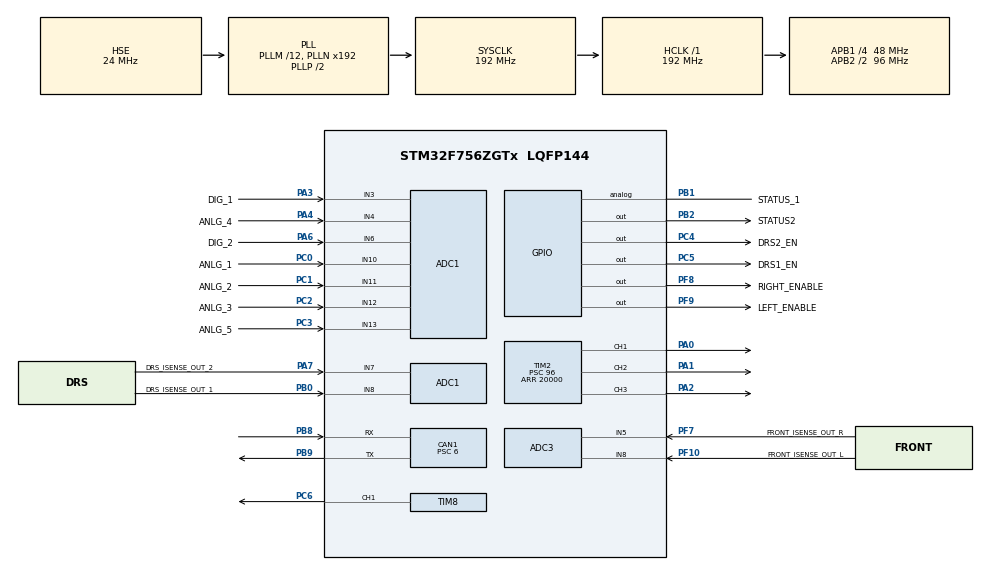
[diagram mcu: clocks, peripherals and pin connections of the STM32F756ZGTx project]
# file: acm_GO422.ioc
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ADC1.Channel-1\#ChannelRegularConversion=ADC_CHANNEL_6
ADC1.NbrOfConversionFlag=1
ADC1.Rank-1\#ChannelRegularConversion=1
ADC1.SamplingTime-1\#ChannelRegularConversion=ADC_SAMPLETIME_3CYCLES
ADC1.master=1
ADC3.Channel-0\#ChannelRegularConversion=ADC_CHANNEL_5
ADC3.NbrOfConversionFlag=1
ADC3.Rank-0\#ChannelRegularConversion=1
ADC3.SamplingTime-0\#ChannelRegularConversion=ADC_SAMPLETIME_3CYCLES
CAN1.ABOM=ENABLE
CAN1.AWUM=ENABLE
CAN1.BS1=CAN_BS1_6TQ
CAN1.CalculateBaudRate=1000000
CAN1.CalculateTimeBit=1000
CAN1.CalculateTimeQuantum=125.0
CAN1.Mode=CAN_MODE_NORMAL
CAN1.Prescaler=6
FREERTOS.Tasks01=taskMain_Loop,0,256,task_main_loop,Default,NULL,Dynamic,NULL,NULL;taskGCAN_Hardwa,0,256,task_gcan_hw,Default,NULL,Dynamic,NULL,NULL
FREERTOS.configMINIMAL_STACK_SIZE=256
Mcu.Family=STM32F7
Mcu.Name=STM32F756ZGTx
Mcu.Package=LQFP144
NVIC.CAN1_RX0_IRQn=true\:5\:0\:false\:false\:true\:true\:true\:true\:true
NVIC.CAN1_RX1_IRQn=true\:5\:0\:false\:false\:true\:true\:true\:true\:true
NVIC.CAN1_TX_IRQn=true\:5\:0\:false\:false\:true\:true\:true\:true\:true
NVIC.PriorityGroup=NVIC_PRIORITYGROUP_4
NVIC.TIM6_DAC_IRQn=true\:0\:0\:false\:false\:true\:false\:false\:true\:true
NVIC.TimeBase=TIM6_DAC_IRQn
NVIC.TimeBaseIP=TIM6
PA0/WKUP.Signal=S_TIM2_CH1_ETR
PA1.Signal=S_TIM2_CH2
PA2.Signal=S_TIM2_CH3
PA3.GPIO_Label=DIG_1
PA3.Signal=ADCx_IN3
PA4.GPIO_Label=ANLG_4
PA4.Signal=ADCx_IN4
PA6.GPIO_Label=DIG_2
PA6.Signal=ADCx_IN6
PA7.GPIO_Label=DRS_ISENSE_OUT_2
PA7.Signal=ADCx_IN7
PB0.GPIO_Label=DRS_ISENSE_OUT_1
PB0.Signal=SharedAnalog_PB0
PB1.GPIO_Label=STATUS_1
PB1.Signal=GPIO_Analog
PB2.GPIO_Label=STATUS2
PB2.Signal=GPIO_Output
PB3.Signal=SYS_JTDO-SWO
PB8.Mode=CAN_Activate
PB8.Signal=CAN1_RX
PB9.Mode=CAN_Activate
PB9.Signal=CAN1_TX
PC0.GPIO_Label=ANLG_1
PC0.Signal=ADCx_IN10
PC1.GPIO_Label=ANLG_2
PC1.Signal=ADCx_IN11
PC2.GPIO_Label=ANLG_3
PC2.Signal=ADCx_IN12
PC3.GPIO_Label=ANLG_5
PC3.Signal=ADCx_IN13
PC4.GPIO_Label=DRS2_EN
PC4.Signal=GPIO_Output
PC5.GPIO_Label=DRS1_EN
PC5.Signal=GPIO_Output
PC6.Signal=S_TIM8_CH1
PF10.GPIO_Label=FRONT_ISENSE_OUT_L
PF10.Mode=IN8
PF10.Signal=ADC3_IN8
PF7.GPIO_Label=FRONT_ISENSE_OUT_R
PF7.Mode=IN5
PF7.Signal=ADC3_IN5
PF8.GPIO_Label=RIGHT_ENABLE
PF8.Signal=GPIO_Output
PF9.GPIO_Label=LEFT_ENABLE
PF9.Signal=GPIO_Output
PH0/OSC_IN.Mode=HSE-External-Clock-Source
PH0/OSC_IN.Signal=RCC_OSC_IN
PH1/OSC_OUT.Mode=HSE-External-Clock-Source
PH1/OSC_OUT.Signal=RCC_OSC_OUT
ProjectManager.HeapSize=0x200
ProjectManager.StackSize=0x400
ProjectManager.TargetToolchain=STM32CubeIDE
RCC.AHBFreq_Value=192000000
RCC.APB1CLKDivider=RCC_HCLK_DIV4
RCC.APB1Freq_Value=48000000
RCC.APB1TimFreq_Value=96000000
RCC.APB2CLKDivider=RCC_HCLK_DIV2
RCC.APB2Freq_Value=96000000
RCC.APB2TimFreq_Value=192000000
RCC.CortexFreq_Value=192000000
RCC.HCLKFreq_Value=192000000
RCC.HSE_VALUE=24000000
RCC.HSI_VALUE=16000000
RCC.LSE_VALUE=32768
RCC.PLLM=12
RCC.PLLSourceVirtual=RCC_PLLSOURCE_HSE
RCC.SYSCLKFreq_VALUE=192000000
RCC.SYSCLKSource=RCC_SYSCLKSOURCE_PLLCLK
RCC.USBFreq_Value=192000000
RCC.VCOOutputFreq_Value=384000000
SH.ADCx_IN10.0=ADC1_IN10,IN10
SH.ADCx_IN11.0=ADC1_IN11,IN11
SH.ADCx_IN12.0=ADC1_IN12,IN12
SH.ADCx_IN13.0=ADC1_IN13,IN13
SH.ADCx_IN3.0=ADC1_IN3,IN3
SH.ADCx_IN4.0=ADC1_IN4,IN4
SH.ADCx_IN6.0=ADC1_IN6,IN6
SH.ADCx_IN7.0=ADC1_IN7,IN7
SH.S_TIM2_CH1_ETR.0=TIM2_CH1,PWM Generation1 CH1
SH.S_TIM2_CH2.0=TIM2_CH2,PWM Generation2 CH2
SH.S_TIM2_CH3.0=TIM2_CH3,PWM Generation3 CH3
SH.S_TIM8_CH1.0=TIM8_CH1,PWM Generation1 CH1
SH.SharedAnalog_PB0.0=GPIO_Analog
SH.SharedAnalog_PB0.1=ADC1_IN8,IN8
TIM2.AutoReloadPreload=TIM_AUTORELOAD_PRELOAD_DISABLE
TIM2.Channel-PWM\ Generation1\ CH1=TIM_CHANNEL_1
TIM2.Channel-PWM\ Generation2\ CH2=TIM_CHANNEL_2
TIM2.Channel-PWM\ Generation3\ CH3=TIM_CHANNEL_3
TIM2.Period=20000
TIM2.Prescaler=96
TIM8.Channel-PWM\ Generation1\ CH1=TIM_CHANNEL_1
VP_FREERTOS_VS_CMSIS_V1.Mode=CMSIS_V1
VP_SYS_VS_tim6.Mode=TIM6
VP_TIM2_VS_ClockSourceINT.Mode=Internal
VP_TIM8_VS_ClockSourceINT.Mode=Internal
board=custom

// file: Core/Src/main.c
/* USER CODE BEGIN Header */
/**
  ******************************************************************************
  * @file           : main.c
  * @brief          : Main program body
  ******************************************************************************
  * @attention
  *
  * <h2><center>&copy; Copyright (c) 2022 STMicroelectronics.
  * All rights reserved.</center></h2>
  *
  * This software component is licensed by ST under Ultimate Liberty license
  * SLA0044, the "License"; You may not use this file except in compliance with
  * the License. You may obtain a copy of the License at:
  *                             www.st.com/SLA0044
  *
  ******************************************************************************
  */
/* USER CODE END Header */
#include "main.h"
#include "cmsis_os.h"

/* USER CODE BEGIN Includes */
#include "acm_GO422.h"
/* USER CODE END Includes */

ADC_HandleTypeDef hadc1;
ADC_HandleTypeDef hadc3;

CAN_HandleTypeDef hcan1;

TIM_HandleTypeDef htim2;
TIM_HandleTypeDef htim8;

osThreadId taskMain_LoopHandle;
osThreadId taskGCAN_HardwaHandle;

void SystemClock_Config(void);
static void MX_GPIO_Init(void);
static void MX_CAN1_Init(void);
static void MX_TIM8_Init(void);
static void MX_ADC1_Init(void);
static void MX_ADC3_Init(void);
static void MX_TIM2_Init(void);
void task_main_loop(void const * argument);
void task_gcan_hw(void const * argument);

int main(void)
{

  /* MCU Configuration--------------------------------------------------------*/

  /* Reset of all peripherals, Initializes the Flash interface and the Systick. */
  HAL_Init();

  /* Configure the system clock */
  SystemClock_Config();

  /* Initialize all configured peripherals */
  MX_GPIO_Init();
  MX_CAN1_Init();
  MX_TIM8_Init();
  MX_ADC1_Init();
  MX_ADC3_Init();
  MX_TIM2_Init();

  /* Create the thread(s) */
  /* definition and creation of taskMain_Loop */
  osThreadDef(taskMain_Loop, task_main_loop, osPriorityNormal, 0, 256);
  taskMain_LoopHandle = osThreadCreate(osThread(taskMain_Loop), NULL);

  /* definition and creation of taskGCAN_Hardwa */
  osThreadDef(taskGCAN_Hardwa, task_gcan_hw, osPriorityNormal, 0, 256);
  taskGCAN_HardwaHandle = osThreadCreate(osThread(taskGCAN_Hardwa), NULL);

  /* Start scheduler */
  osKernelStart();

  /* We should never get here as control is now taken by the scheduler */
  /* Infinite loop */
  while (1)
  {

  }
}

void SystemClock_Config(void)
{
  RCC_OscInitTypeDef RCC_OscInitStruct = {0};
  RCC_ClkInitTypeDef RCC_ClkInitStruct = {0};

  /** Configure the main internal regulator output voltage
  */
  __HAL_RCC_PWR_CLK_ENABLE();
  __HAL_PWR_VOLTAGESCALING_CONFIG(PWR_REGULATOR_VOLTAGE_SCALE1);
  /** Initializes the RCC Oscillators according to the specified parameters
  * in the RCC_OscInitTypeDef structure.
  */
  RCC_OscInitStruct.OscillatorType = RCC_OSCILLATORTYPE_HSE;
  RCC_OscInitStruct.HSEState = RCC_HSE_BYPASS;
  RCC_OscInitStruct.PLL.PLLState = RCC_PLL_ON;
  RCC_OscInitStruct.PLL.PLLSource = RCC_PLLSOURCE_HSE;
  RCC_OscInitStruct.PLL.PLLM = 12;
  RCC_OscInitStruct.PLL.PLLN = 192;
  RCC_OscInitStruct.PLL.PLLP = RCC_PLLP_DIV2;
  RCC_OscInitStruct.PLL.PLLQ = 2;
  if (HAL_RCC_OscConfig(&RCC_OscInitStruct) != HAL_OK)
  {
    Error_Handler();
  }
  /** Activate the Over-Drive mode
  */
  if (HAL_PWREx_EnableOverDrive() != HAL_OK)
  {
    Error_Handler();
  }
  /** Initializes the CPU, AHB and APB buses clocks
  */
  RCC_ClkInitStruct.ClockType = RCC_CLOCKTYPE_HCLK|RCC_CLOCKTYPE_SYSCLK
                              |RCC_CLOCKTYPE_PCLK1|RCC_CLOCKTYPE_PCLK2;
  RCC_ClkInitStruct.SYSCLKSource = RCC_SYSCLKSOURCE_PLLCLK;
  RCC_ClkInitStruct.AHBCLKDivider = RCC_SYSCLK_DIV1;
  RCC_ClkInitStruct.APB1CLKDivider = RCC_HCLK_DIV4;
  RCC_ClkInitStruct.APB2CLKDivider = RCC_HCLK_DIV2;

  if (HAL_RCC_ClockConfig(&RCC_ClkInitStruct, FLASH_LATENCY_6) != HAL_OK)
  {
    Error_Handler();
  }
}

static void MX_ADC1_Init(void)
{

  ADC_ChannelConfTypeDef sConfig = {0};

  /** Configure the global features of the ADC (Clock, Resolution, Data Alignment and number of conversion)
  */
  hadc1.Instance = ADC1;
  hadc1.Init.ClockPrescaler = ADC_CLOCK_SYNC_PCLK_DIV4;
  hadc1.Init.Resolution = ADC_RESOLUTION_12B;
  hadc1.Init.ScanConvMode = ADC_SCAN_DISABLE;
  hadc1.Init.ContinuousConvMode = DISABLE;
  hadc1.Init.DiscontinuousConvMode = DISABLE;
  hadc1.Init.ExternalTrigConvEdge = ADC_EXTERNALTRIGCONVEDGE_NONE;
  hadc1.Init.ExternalTrigConv = ADC_SOFTWARE_START;
  hadc1.Init.DataAlign = ADC_DATAALIGN_RIGHT;
  hadc1.Init.NbrOfConversion = 1;
  hadc1.Init.DMAContinuousRequests = DISABLE;
  hadc1.Init.EOCSelection = ADC_EOC_SINGLE_CONV;
  if (HAL_ADC_Init(&hadc1) != HAL_OK)
  {
    Error_Handler();
  }
  /** Configure for the selected ADC regular channel its corresponding rank in the sequencer and its sample time.
  */
  sConfig.Channel = ADC_CHANNEL_6;
  sConfig.Rank = ADC_REGULAR_RANK_1;
  sConfig.SamplingTime = ADC_SAMPLETIME_3CYCLES;
  if (HAL_ADC_ConfigChannel(&hadc1, &sConfig) != HAL_OK)
  {
    Error_Handler();
  }

}

static void MX_ADC3_Init(void)
{

  ADC_ChannelConfTypeDef sConfig = {0};

  /** Configure the global features of the ADC (Clock, Resolution, Data Alignment and number of conversion)
  */
  hadc3.Instance = ADC3;
  hadc3.Init.ClockPrescaler = ADC_CLOCK_SYNC_PCLK_DIV4;
  hadc3.Init.Resolution = ADC_RESOLUTION_12B;
  hadc3.Init.ScanConvMode = ADC_SCAN_DISABLE;
  hadc3.Init.ContinuousConvMode = DISABLE;
  hadc3.Init.DiscontinuousConvMode = DISABLE;
  hadc3.Init.ExternalTrigConvEdge = ADC_EXTERNALTRIGCONVEDGE_NONE;
  hadc3.Init.ExternalTrigConv = ADC_SOFTWARE_START;
  hadc3.Init.DataAlign = ADC_DATAALIGN_RIGHT;
  hadc3.Init.NbrOfConversion = 1;
  hadc3.Init.DMAContinuousRequests = DISABLE;
  hadc3.Init.EOCSelection = ADC_EOC_SINGLE_CONV;
  if (HAL_ADC_Init(&hadc3) != HAL_OK)
  {
    Error_Handler();
  }
  /** Configure for the selected ADC regular channel its corresponding rank in the sequencer and its sample time.
  */
  sConfig.Channel = ADC_CHANNEL_5;
  sConfig.Rank = ADC_REGULAR_RANK_1;
  sConfig.SamplingTime = ADC_SAMPLETIME_3CYCLES;
  if (HAL_ADC_ConfigChannel(&hadc3, &sConfig) != HAL_OK)
  {
    Error_Handler();
  }

}

static void MX_CAN1_Init(void)
{

  hcan1.Instance = CAN1;
  hcan1.Init.Prescaler = 6;
  hcan1.Init.Mode = CAN_MODE_NORMAL;
  hcan1.Init.SyncJumpWidth = CAN_SJW_1TQ;
  hcan1.Init.TimeSeg1 = CAN_BS1_6TQ;
  hcan1.Init.TimeSeg2 = CAN_BS2_1TQ;
  hcan1.Init.TimeTriggeredMode = DISABLE;
  hcan1.Init.AutoBusOff = ENABLE;
  hcan1.Init.AutoWakeUp = ENABLE;
  hcan1.Init.AutoRetransmission = DISABLE;
  hcan1.Init.ReceiveFifoLocked = DISABLE;
  hcan1.Init.TransmitFifoPriority = DISABLE;
  if (HAL_CAN_Init(&hcan1) != HAL_OK)
  {
    Error_Handler();
  }

}

static void MX_TIM2_Init(void)
{

  TIM_ClockConfigTypeDef sClockSourceConfig = {0};
  TIM_MasterConfigTypeDef sMasterConfig = {0};
  TIM_OC_InitTypeDef sConfigOC = {0};

  htim2.Instance = TIM2;
  htim2.Init.Prescaler = 96;
  htim2.Init.CounterMode = TIM_COUNTERMODE_UP;
  htim2.Init.Period = 20000;
  htim2.Init.ClockDivision = TIM_CLOCKDIVISION_DIV1;
  htim2.Init.AutoReloadPreload = TIM_AUTORELOAD_PRELOAD_DISABLE;
  if (HAL_TIM_Base_Init(&htim2) != HAL_OK)
  {
    Error_Handler();
  }
  sClockSourceConfig.ClockSource = TIM_CLOCKSOURCE_INTERNAL;
  if (HAL_TIM_ConfigClockSource(&htim2, &sClockSourceConfig) != HAL_OK)
  {
    Error_Handler();
  }
  if (HAL_TIM_PWM_Init(&htim2) != HAL_OK)
  {
    Error_Handler();
  }
  sMasterConfig.MasterOutputTrigger = TIM_TRGO_RESET;
  sMasterConfig.MasterSlaveMode = TIM_MASTERSLAVEMODE_DISABLE;
  if (HAL_TIMEx_MasterConfigSynchronization(&htim2, &sMasterConfig) != HAL_OK)
  {
    Error_Handler();
  }
  sConfigOC.OCMode = TIM_OCMODE_PWM1;
  sConfigOC.Pulse = 0;
  sConfigOC.OCPolarity = TIM_OCPOLARITY_HIGH;
  sConfigOC.OCFastMode = TIM_OCFAST_DISABLE;
  if (HAL_TIM_PWM_ConfigChannel(&htim2, &sConfigOC, TIM_CHANNEL_1) != HAL_OK)
  {
    Error_Handler();
  }
  if (HAL_TIM_PWM_ConfigChannel(&htim2, &sConfigOC, TIM_CHANNEL_2) != HAL_OK)
  {
    Error_Handler();
  }
  if (HAL_TIM_PWM_ConfigChannel(&htim2, &sConfigOC, TIM_CHANNEL_3) != HAL_OK)
  {
    Error_Handler();
  }
  HAL_TIM_MspPostInit(&htim2);

}

static void MX_TIM8_Init(void)
{

  TIM_ClockConfigTypeDef sClockSourceConfig = {0};
  TIM_MasterConfigTypeDef sMasterConfig = {0};
  TIM_OC_InitTypeDef sConfigOC = {0};
  TIM_BreakDeadTimeConfigTypeDef sBreakDeadTimeConfig = {0};

  htim8.Instance = TIM8;
  htim8.Init.Prescaler = 0;
  htim8.Init.CounterMode = TIM_COUNTERMODE_UP;
  htim8.Init.Period = 65535;
  htim8.Init.ClockDivision = TIM_CLOCKDIVISION_DIV1;
  htim8.Init.RepetitionCounter = 0;
  htim8.Init.AutoReloadPreload = TIM_AUTORELOAD_PRELOAD_DISABLE;
  if (HAL_TIM_Base_Init(&htim8) != HAL_OK)
  {
    Error_Handler();
  }
  sClockSourceConfig.ClockSource = TIM_CLOCKSOURCE_INTERNAL;
  if (HAL_TIM_ConfigClockSource(&htim8, &sClockSourceConfig) != HAL_OK)
  {
    Error_Handler();
  }
  if (HAL_TIM_PWM_Init(&htim8) != HAL_OK)
  {
    Error_Handler();
  }
  sMasterConfig.MasterOutputTrigger = TIM_TRGO_RESET;
  sMasterConfig.MasterOutputTrigger2 = TIM_TRGO2_RESET;
  sMasterConfig.MasterSlaveMode = TIM_MASTERSLAVEMODE_DISABLE;
  if (HAL_TIMEx_MasterConfigSynchronization(&htim8, &sMasterConfig) != HAL_OK)
  {
    Error_Handler();
  }
  sConfigOC.OCMode = TIM_OCMODE_PWM1;
  sConfigOC.Pulse = 0;
  sConfigOC.OCPolarity = TIM_OCPOLARITY_HIGH;
  sConfigOC.OCNPolarity = TIM_OCNPOLARITY_HIGH;
  sConfigOC.OCFastMode = TIM_OCFAST_DISABLE;
  sConfigOC.OCIdleState = TIM_OCIDLESTATE_RESET;
  sConfigOC.OCNIdleState = TIM_OCNIDLESTATE_RESET;
  if (HAL_TIM_PWM_ConfigChannel(&htim8, &sConfigOC, TIM_CHANNEL_1) != HAL_OK)
  {
    Error_Handler();
  }
  sBreakDeadTimeConfig.OffStateRunMode = TIM_OSSR_DISABLE;
  sBreakDeadTimeConfig.OffStateIDLEMode = TIM_OSSI_DISABLE;
  sBreakDeadTimeConfig.LockLevel = TIM_LOCKLEVEL_OFF;
  sBreakDeadTimeConfig.DeadTime = 0;
  sBreakDeadTimeConfig.BreakState = TIM_BREAK_DISABLE;
  sBreakDeadTimeConfig.BreakPolarity = TIM_BREAKPOLARITY_HIGH;
  sBreakDeadTimeConfig.BreakFilter = 0;
  sBreakDeadTimeConfig.Break2State = TIM_BREAK2_DISABLE;
  sBreakDeadTimeConfig.Break2Polarity = TIM_BREAK2POLARITY_HIGH;
  sBreakDeadTimeConfig.Break2Filter = 0;
  sBreakDeadTimeConfig.AutomaticOutput = TIM_AUTOMATICOUTPUT_DISABLE;
  if (HAL_TIMEx_ConfigBreakDeadTime(&htim8, &sBreakDeadTimeConfig) != HAL_OK)
  {
    Error_Handler();
  }
  HAL_TIM_MspPostInit(&htim8);

}

static void MX_GPIO_Init(void)
{
  GPIO_InitTypeDef GPIO_InitStruct = {0};

  /* GPIO Ports Clock Enable */
  __HAL_RCC_GPIOF_CLK_ENABLE();
  __HAL_RCC_GPIOH_CLK_ENABLE();
  __HAL_RCC_GPIOC_CLK_ENABLE();
  __HAL_RCC_GPIOA_CLK_ENABLE();
  __HAL_RCC_GPIOB_CLK_ENABLE();

  /*Configure GPIO pin Output Level */
  HAL_GPIO_WritePin(GPIOF, RIGHT_ENABLE_Pin|LEFT_ENABLE_Pin, GPIO_PIN_RESET);

  /*Configure GPIO pin Output Level */
  HAL_GPIO_WritePin(GPIOC, DRS2_EN_Pin|DRS1_EN_Pin, GPIO_PIN_RESET);

  /*Configure GPIO pin Output Level */
  HAL_GPIO_WritePin(STATUS2_GPIO_Port, STATUS2_Pin, GPIO_PIN_RESET);

  /*Configure GPIO pins : RIGHT_ENABLE_Pin LEFT_ENABLE_Pin */
  GPIO_InitStruct.Pin = RIGHT_ENABLE_Pin|LEFT_ENABLE_Pin;
  GPIO_InitStruct.Mode = GPIO_MODE_OUTPUT_PP;
  GPIO_InitStruct.Pull = GPIO_NOPULL;
  GPIO_InitStruct.Speed = GPIO_SPEED_FREQ_LOW;
  HAL_GPIO_Init(GPIOF, &GPIO_InitStruct);

  /*Configure GPIO pins : DRS2_EN_Pin DRS1_EN_Pin */
  GPIO_InitStruct.Pin = DRS2_EN_Pin|DRS1_EN_Pin;
  GPIO_InitStruct.Mode = GPIO_MODE_OUTPUT_PP;
  GPIO_InitStruct.Pull = GPIO_NOPULL;
  GPIO_InitStruct.Speed = GPIO_SPEED_FREQ_LOW;
  HAL_GPIO_Init(GPIOC, &GPIO_InitStruct);

  /*Configure GPIO pin : STATUS_1_Pin */
  GPIO_InitStruct.Pin = STATUS_1_Pin;
  GPIO_InitStruct.Mode = GPIO_MODE_ANALOG;
  GPIO_InitStruct.Pull = GPIO_NOPULL;
  HAL_GPIO_Init(STATUS_1_GPIO_Port, &GPIO_InitStruct);

  /*Configure GPIO pin : STATUS2_Pin */
  GPIO_InitStruct.Pin = STATUS2_Pin;
  GPIO_InitStruct.Mode = GPIO_MODE_OUTPUT_PP;
  GPIO_InitStruct.Pull = GPIO_NOPULL;
  GPIO_InitStruct.Speed = GPIO_SPEED_FREQ_LOW;
  HAL_GPIO_Init(STATUS2_GPIO_Port, &GPIO_InitStruct);

}

void task_main_loop(void const * argument)
{
  /* USER CODE BEGIN 5 */
  /* Infinite loop */
	HAL_TIM_PWM_Start(&htim2, TIM_CHANNEL_1);
	HAL_TIM_PWM_Start(&htim2, TIM_CHANNEL_2);
	HAL_TIM_PWM_Start(&htim2, TIM_CHANNEL_3);
	data_thresholds* channels = init(&hcan1);
	int check_valid = 0;
	int front_PWM = HIGH_REAR_ANGLE;
	int rear_PWM = HIGH_REAR_ANGLE;
	for(int i = 0; i < VALID_CHANNELS; i++)
	{
		if(valid_data_channel(channels[i].channel_name) == 0)
			check_valid += 1;
	}
	while(check_valid == NUM_CHANNELS)
	{
		int is_pressed_drs = drs_button(rear_PWM);
		if(is_pressed_drs == 0)
		{
			int rear_angles[NUM_CHANNELS];
			for(int j = 0; j < NUM_CHANNELS; j++)
			{
				parameter_request(channels[j].channel_name);
				rear_angles[j] = calculate_rear_wing_angle(channels[j].channel_name, channels[j]);
			}
			rear_PWM = determine_wing_angle(rear_angles);
		}
		else
		{
			rear_PWM = is_pressed_drs;
		}
		int is_pressed_front = aa_button(front_PWM);
		if(is_pressed_front == 0)
		{
			int front_angles[NUM_CHANNELS];
			for(int j = 0; j < NUM_CHANNELS; j++)
			{
				parameter_request(channels[j].channel_name);
				front_angles[j] = calculate_front_wing_angle(channels[j].channel_name, channels[j]);
			}
			front_PWM = determine_wing_angle(front_angles);
		}
		else
		{
			front_PWM = is_pressed_front;
		}
		PWM_generation(rear_PWM, front_PWM);
		osDelay(25);
    }
  /* USER CODE END 5 */
}

void task_gcan_hw(void const * argument)
{
  for(;;)
  {
    osDelay(1);
  }
}

 /**
  * @brief  Period elapsed callback in non blocking mode
  * @note   This function is called  when TIM6 interrupt took place, inside
  * HAL_TIM_IRQHandler(). It makes a direct call to HAL_IncTick() to increment
  * a global variable "uwTick" used as application time base.
  * @param  htim : TIM handle
  * @retval None
  */
void HAL_TIM_PeriodElapsedCallback(TIM_HandleTypeDef *htim)
{
  if (htim->Instance == TIM6) {
    HAL_IncTick();
  }
}

void Error_Handler(void)
{
  __disable_irq();
  while (1)
  {
  }
}

/************************ (C) COPYRIGHT STMicroelectronics *****END OF FILE****/
